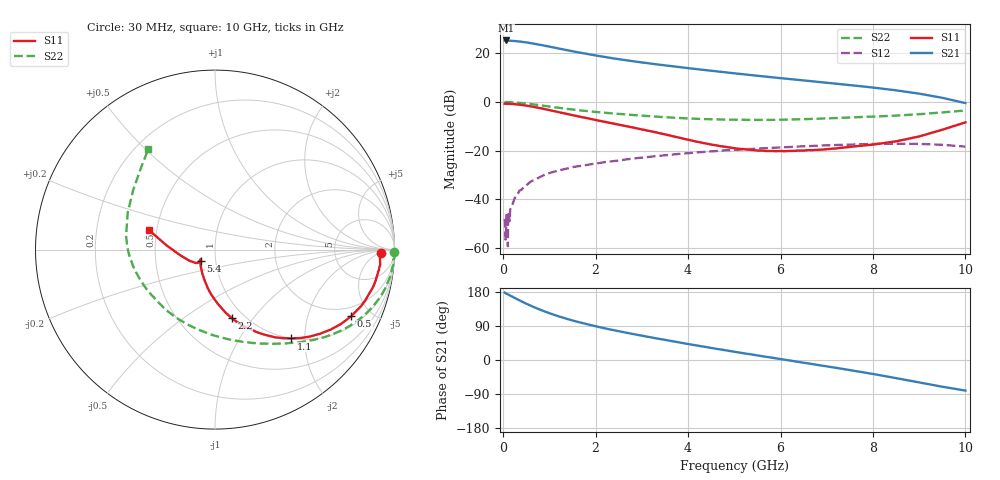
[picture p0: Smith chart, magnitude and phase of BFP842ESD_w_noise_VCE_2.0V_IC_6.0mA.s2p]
! Infineon Technologies  Discrete & RF Semiconductors
! BFP842ESD
! VCE =  2.0 V,  IC =  6.0 mA
! Common Emitter S-Parameters:  May 2012
# GHz  S  MA  R  50
!  f  S11  S21  S12  S22
! GHz  MAG  ANG  MAG  ANG  MAG  ANG  MAG  ANG
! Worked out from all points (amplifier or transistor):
!   99 points, 30 MHz to 10 GHz, reference 50 ohm
!   highest |S21| = 25.3 dB at 60 MHz (marker M1)
!   |S21| within 3 dB of that: start of sweep to 1.12 GHz
!   unconditionally stable (mu >= 1): 3.342 GHz to end of sweep
!   at 350 MHz: K = 0.20, MSG = 30.6 dB, |S12| = -36.4 dB
!   at 3.5 GHz: K = 1.02, MAG = 17.7 dB, |S12| = -21.8 dB
!   at 10 GHz: K = 2.01, MAG = 3.2 dB, |S12| = -18.3 dB
!   lowest NFmin = 0.46 dB at 450 MHz
!   S11 on the Smith chart (normalised r, x): 30 MHz: 24, -7; 500 MHz: 1.47, -3.80; 1.1 GHz: 1.00, -1.72; 2.2 GHz: 0.87, -0.79; 5.4 GHz: 0.84, -0.11; 10 GHz: 0.45, +0.11
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0.03  0.9268 -1.3  18.27 177.8  0.004 94.9  0.9979 -0.9
0.05  0.921 -2.7  18.14 176.1  0.0015 -163.7  0.9984 -2.3
0.06  0.9202 -3.3  18.41 175.5  0.0021 137.1  1 -2.3
0.08  0.9223 -4.4  18.26 174.3  0.0049 58.5  0.994 -3.3
0.1  0.9245 -5.2  18.19 173.4  0.0011 101.2  0.9971 -4.2
0.11  0.9207 -6.3  18.33 172.4  0.0053 104.3  0.9953 -4.6
0.14  0.9168 -7.6  18.13 170.8  0.0036 103.7  0.9924 -6.0
0.25  0.9051 -13.4  17.96 163.7  0.0108 79.0  0.9804 -10.5
0.5  0.845 -26.0  16.8 148.6  0.0196 75.0  0.9332 -20.2
0.8  0.7491 -38.8  14.96 132.6  0.0292 64.5  0.8589 -30.0
1.1  0.6517 -49.4  13.15 119.2  0.0373 57.8  0.7851 -38.2
1.4  0.5645 -58.2  11.54 107.8  0.0435 52.7  0.7211 -44.9
1.7  0.4901 -65.5  10.18 97.9  0.0493 48.5  0.6687 -51.0
2.2  0.3929 -76.2  8.436 83.6  0.0586 43.6  0.6034 -60.3
2.7  0.3142 -85.3  7.128 71.1  0.0675 38.7  0.553 -69.6
3.4  0.2273 -98.8  5.825 55.3  0.0789 31.1  0.4956 -84.2
4.2  0.153 -117.2  4.736 38.0  0.0928 22.9  0.4528 -103.3
5.1  0.1098 -137.3  3.806 19.8  0.1057 11.7  0.4328 -124.6
5.4  0.1037 -140.9  3.552 14.0  0.1095 8.2  0.4319 -131.2
6.7  0.1031 -144.0  2.663 -11.0  0.126 -7.9  0.452 -160.1
8.5  0.1562 -156.9  1.742 -47.8  0.1395 -36.7  0.528 157.1
10  0.3828 163.6  0.953 -80.7  0.1216 -66.5  0.6711 123.7
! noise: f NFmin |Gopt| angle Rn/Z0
0.45  0.46  0.3  2  0.12
0.9  0.48  0.31  9  0.11
1.5  0.5  0.34  19  0.11
1.9  0.52  0.33  26  0.1
2.4  0.54  0.29  39  0.1
3.5  0.64  0.21  81  0.08
4  0.68  0.17  104  0.08
5  0.73  0.17  122  0.07
5.5  0.84  0.16  147  0.08
6  0.97  0.14  161  0.08
